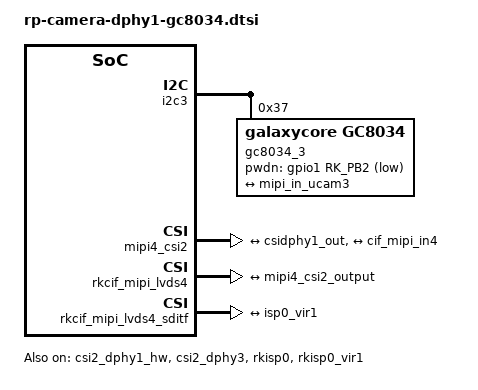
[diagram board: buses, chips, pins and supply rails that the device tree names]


&i2c3 {
    status = "okay";
    pinctrl-names = "default";
    pinctrl-0 = <&i2c3m0_xfer>;
  
    gc8034_3: gc8034_3@37 {
        compatible = "galaxycore,gc8034";
        status = "okay";
        reg = <0x37>;
        clocks = <&cru CLK_MIPI_CAMARAOUT_M4>;
        clock-names = "xvclk";
        power-domains = <&power RK3588_PD_VI>;
        pinctrl-names = "default";
        pinctrl-0 = <&mipim0_camera4_clk>;
        rockchip,grf = <&sys_grf>;
        pwdn-gpios = <&gpio1 RK_PB2 GPIO_ACTIVE_LOW>;
        rockchip,camera-module-index = <3>;
        rockchip,camera-module-facing = "back";
        rockchip,camera-module-name = "default";
        rockchip,camera-module-lens-name = "default";
        port {
            gc8034_out3: endpoint {
                remote-endpoint = <&mipi_in_ucam3>;
                data-lanes = <1 2 3 4>;
            };
        };
    };
};

&csi2_dphy1_hw {
    status = "okay";
};

&csi2_dphy3 {
    status = "okay";
    ports {
        #address-cells = <1>;
        #size-cells = <0>;
        port@0 {
            reg = <0>;
            #address-cells = <1>;
            #size-cells = <0>;
            mipi_in_ucam3: endpoint@1 {
                reg = <1>;
                remote-endpoint = <&gc8034_out3>;
                data-lanes = <1 2 3 4>;
            };
        };
        port@1 {
            reg = <1>;
            #address-cells = <1>;
            #size-cells = <0>;
            csidphy1_out: endpoint@0 {
                reg = <0>;
                remote-endpoint = <&mipi4_csi2_input>;
            };
        };
    };
};

&mipi4_csi2 {
    status = "okay";
    ports {
        #address-cells = <1>;
        #size-cells = <0>;
        port@0 {
            reg = <0>;
            #address-cells = <1>;
            #size-cells = <0>;
            mipi4_csi2_input: endpoint@1 {
                reg = <1>;
                remote-endpoint = <&csidphy1_out>;
            };
        };
        port@1 {
            reg = <1>;
            #address-cells = <1>;
            #size-cells = <0>;
            mipi4_csi2_output: endpoint@0 {
                reg = <0>;
                remote-endpoint = <&cif_mipi_in4>;
            };
        };
    };
};


&rkcif_mipi_lvds4 {
    status = "okay";
    port {
        cif_mipi_in4: endpoint {
            remote-endpoint = <&mipi4_csi2_output>;
        };
    };
};

&rkcif_mipi_lvds4_sditf {
    status = "okay";
    port {
        mipi4_lvds_sditf: endpoint {
            remote-endpoint = <&isp0_vir1>;
        };
    };
};

&rkisp0 {
    status = "okay";
};

&isp0_mmu {
    status = "okay";
};

&rkisp0_vir1 {
    status = "okay";
    port {
        #address-cells = <1>;
        #size-cells = <0>;

        isp0_vir1: endpoint@0 {
            reg = <0>;
            remote-endpoint = <&mipi4_lvds_sditf>;
        };
    };
};

